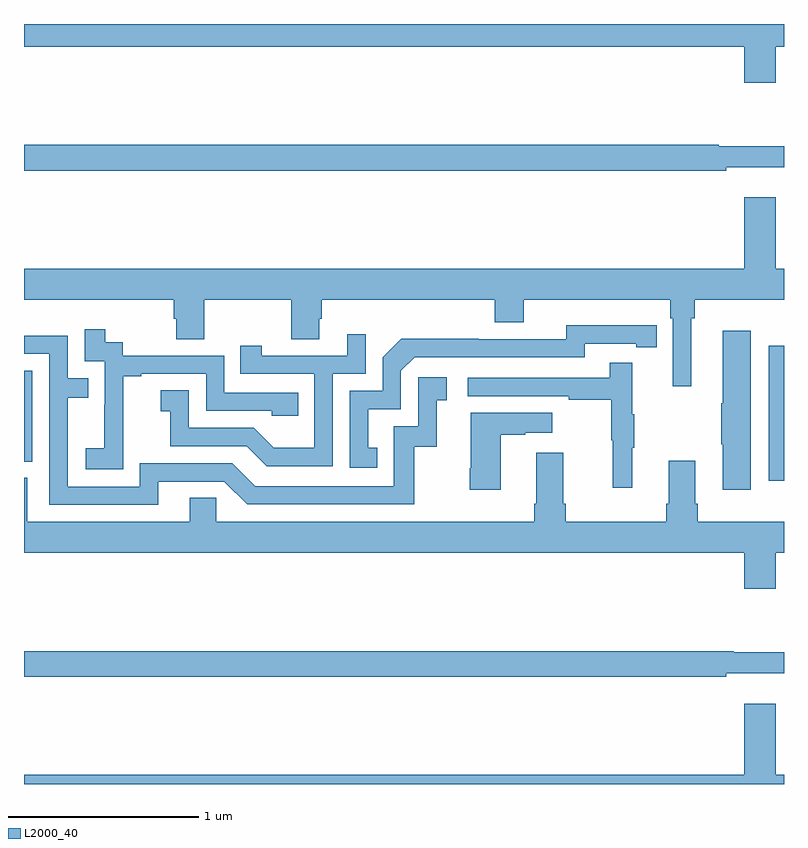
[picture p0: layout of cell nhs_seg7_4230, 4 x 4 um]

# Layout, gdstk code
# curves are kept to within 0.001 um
import gdstk
lib = gdstk.Library(unit=1e-6, precision=1e-09)
def R(c, l, rs):  # rectangles x0, y0, x1, y1
    for r in rs: c.add(gdstk.rectangle(r[:2], r[2:], *l))
def P(c, l, *ps):  # polygons
    for p in ps: c.add(gdstk.Polygon(p, *l))
L2000_40 = (2000, 40)

nhs_seg7_4230 = lib.new_cell('nhs_seg7_4230')
R(nhs_seg7_4230, L2000_40, [(380.919,1067.597,381,1068.307), (377,1067.697,377.043,1068.174)])
P(nhs_seg7_4230, L2000_40, [(380.956,1069.88),(381,1069.88),(381,1070),(377,1070),(377,1069.88),(380.792,1069.88),(380.792,1069.692),(380.956,1069.692)],
  [(380.696,1069.247),(381,1069.247),(381,1069.357),(380.657,1069.357),(380.657,1069.364),(377,1069.364),(377,1069.228),(380.696,1069.228)],
  [(377,1068.548),(377.789,1068.548),(377.789,1068.45),(377.801,1068.45),(377.801,1068.34),(377.949,1068.34),(377.949,1068.548),(378.406,1068.548),(378.406,1068.34),(378.553,1068.34),(378.553,1068.45),(378.566,1068.45),(378.566,1068.548),(379.478,1068.548),(379.478,1068.431),(379.63,1068.431),(379.63,1068.548),(380.402,1068.548),(380.402,1068.452),(380.415,1068.452),(380.415,1068.093),(380.512,1068.093),(380.512,1068.452),(380.531,1068.452),(380.531,1068.548),(381,1068.548),(381,1068.712),(380.956,1068.712),(380.956,1069.087),(380.792,1069.087),(380.792,1068.712),(377,1068.712)],
  [(378.86,1067.769),(378.811,1067.769),(378.811,1067.973),(378.984,1067.973),(378.984,1068.174),(379.056,1068.246),(379.95,1068.246),(379.95,1068.318),(380.222,1068.318),(380.222,1068.298),(380.33,1068.298),(380.33,1068.414),(379.854,1068.415),(379.854,1068.342),(379.394,1068.342),(379.394,1068.344),(378.986,1068.344),(378.888,1068.246),(378.888,1068.069),(378.714,1068.069),(378.714,1067.664),(378.86,1067.664)],
  [(377.523,1067.863),(377.522,1067.863),(377.522,1068.147),(377.617,1068.147),(377.617,1068.159),(377.958,1068.159),(377.958,1067.964),(378.303,1067.964),(378.303,1067.937),(378.443,1067.937),(378.443,1068.06),(378.054,1068.06),(378.054,1068.255),(377.52,1068.255),(377.52,1068.324),(377.428,1068.324),(377.428,1068.394),(377.319,1068.394),(377.319,1068.225),(377.424,1068.225),(377.424,1067.996),(377.423,1067.996),(377.423,1067.767),(377.325,1067.767),(377.325,1067.657),(377.523,1067.657)],
  [(380.824,1068.385),(380.678,1068.385),(380.678,1068.005),(380.671,1068.005),(380.671,1067.788),(380.678,1067.788),(380.678,1067.55),(380.824,1067.55)],
  [(378.624,1068.159),(378.798,1068.159),(378.798,1068.367),(378.701,1068.367),(378.701,1068.255),(378.25,1068.255),(378.25,1068.307),(378.139,1068.307),(378.139,1068.159),(378.528,1068.159),(378.528,1067.77),(378.314,1067.77),(378.21,1067.874),(377.868,1067.874),(377.868,1068.073),(377.721,1068.073),(377.721,1067.963),(377.77,1067.963),(377.77,1067.778),(378.173,1067.778),(378.278,1067.673),(378.624,1067.673)],
  [(377.707,1067.592),(378.054,1067.592),(378.174,1067.472),(379.054,1067.472),(379.054,1067.775),(379.172,1067.775),(379.172,1068.021),(379.225,1068.021),(379.225,1068.142),(379.074,1068.142),(379.074,1067.883),(378.945,1067.883),(378.945,1067.568),(378.216,1067.568),(378.096,1067.688),(377.61,1067.688),(377.61,1067.565),(377.229,1067.565),(377.229,1068.034),(377.339,1068.034),(377.339,1068.135),(377.229,1068.135),(377.229,1068.36),(377,1068.36),(377,1068.264),(377.133,1068.264),(377.133,1067.469),(377.707,1067.469)],
  [(380.201,1067.771),(380.212,1067.771),(380.212,1067.945),(380.201,1067.945),(380.201,1068.217),(380.083,1068.217),(380.083,1068.138),(379.335,1068.138),(379.335,1068.042),(379.867,1068.042),(379.867,1068.022),(380.091,1068.022),(380.091,1067.808),(380.098,1067.808),(380.098,1067.559),(380.201,1067.559)],
  [(379.51,1067.839),(379.637,1067.839),(379.637,1067.849),(379.78,1067.849),(379.78,1067.953),(379.352,1067.953),(379.352,1067.662),(379.345,1067.662),(379.345,1067.55),(379.51,1067.55)],
  [(380.956,1067.216),(381,1067.216),(381,1067.38),(380.546,1067.38),(380.546,1067.476),(380.533,1067.476),(380.533,1067.701),(380.393,1067.701),(380.393,1067.476),(380.381,1067.476),(380.381,1067.38),(379.85,1067.38),(379.85,1067.476),(379.837,1067.476),(379.837,1067.743),(379.697,1067.743),(379.697,1067.476),(379.685,1067.476),(379.685,1067.38),(378.012,1067.38),(378.012,1067.507),(377.873,1067.507),(377.873,1067.38),(377.017,1067.38),(377.017,1067.612),(377,1067.612),(377,1067.216),(380.792,1067.216),(380.792,1067.028),(380.956,1067.028)],
  [(380.696,1066.583),(381,1066.583),(381,1066.693),(380.735,1066.693),(380.735,1066.7),(377,1066.7),(377,1066.564),(380.696,1066.564)],
  [(381,1066.048),(380.956,1066.048),(380.956,1066.423),(380.792,1066.423),(380.792,1066.048),(377,1066.048),(377,1066),(381,1066)])

lib.write_gds('nhs_seg7_4230.gds')
